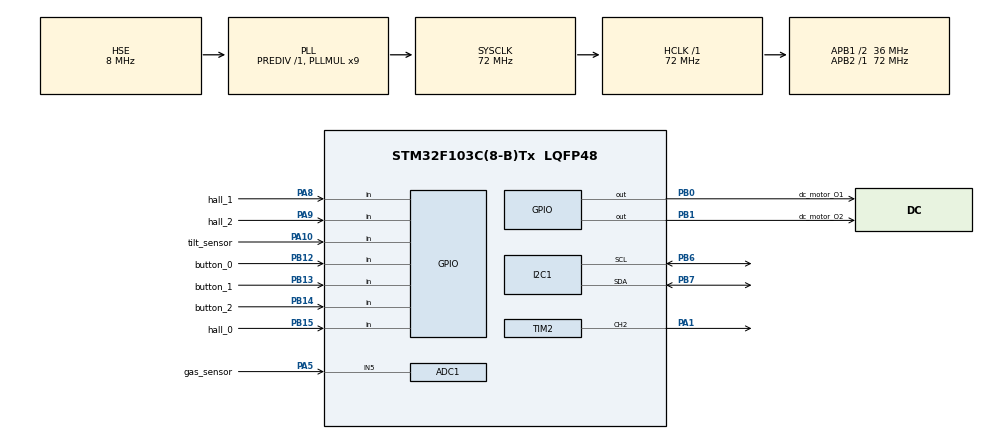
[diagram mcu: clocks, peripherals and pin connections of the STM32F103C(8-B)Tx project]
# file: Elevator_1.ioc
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ADC1.Channel-2\#ChannelRegularConversion=ADC_CHANNEL_5
ADC1.ContinuousConvMode=ENABLE
ADC1.NbrOfConversionFlag=1
ADC1.Rank-2\#ChannelRegularConversion=1
ADC1.SamplingTime-2\#ChannelRegularConversion=ADC_SAMPLETIME_1CYCLE_5
ADC1.master=1
Mcu.Family=STM32F1
Mcu.Name=STM32F103C(8-B)Tx
Mcu.Package=LQFP48
NVIC.PriorityGroup=NVIC_PRIORITYGROUP_4
PA1.Signal=S_TIM2_CH2
PA10.GPIO_Label=tilt_sensor
PA10.Signal=GPIO_Input
PA13.Mode=Serial_Wire
PA13.Signal=SYS_JTMS-SWDIO
PA14.Mode=Serial_Wire
PA14.Signal=SYS_JTCK-SWCLK
PA5.GPIO_Label=gas_sensor
PA5.Signal=ADCx_IN5
PA8.GPIO_Label=hall_1
PA8.Signal=GPIO_Input
PA9.GPIO_Label=hall_2
PA9.Signal=GPIO_Input
PB0.GPIO_Label=dc_motor_O1
PB0.Signal=GPIO_Output
PB1.GPIO_Label=dc_motor_O2
PB1.Signal=GPIO_Output
PB12.GPIO_Label=button_0
PB12.Signal=GPIO_Input
PB13.GPIO_Label=button_1
PB13.Signal=GPIO_Input
PB14.GPIO_Label=button_2
PB14.Signal=GPIO_Input
PB15.GPIO_Label=hall_0
PB15.Signal=GPIO_Input
PB6.Mode=I2C
PB6.Signal=I2C1_SCL
PB7.Mode=I2C
PB7.Signal=I2C1_SDA
PD0-OSC_IN.Mode=HSE-External-Oscillator
PD0-OSC_IN.Signal=RCC_OSC_IN
PD1-OSC_OUT.Mode=HSE-External-Oscillator
PD1-OSC_OUT.Signal=RCC_OSC_OUT
ProjectManager.HeapSize=0x200
ProjectManager.StackSize=0x400
ProjectManager.TargetToolchain=MDK-ARM V5.32
RCC.ADCPresc=RCC_ADCPCLK2_DIV6
RCC.AHBFreq_Value=72000000
RCC.APB1CLKDivider=RCC_HCLK_DIV2
RCC.APB1Freq_Value=36000000
RCC.APB1TimFreq_Value=72000000
RCC.APB2Freq_Value=72000000
RCC.APB2TimFreq_Value=72000000
RCC.HCLKFreq_Value=72000000
RCC.PLLMUL=RCC_PLL_MUL9
RCC.PLLSourceVirtual=RCC_PLLSOURCE_HSE
RCC.SYSCLKFreq_VALUE=72000000
RCC.SYSCLKSource=RCC_SYSCLKSOURCE_PLLCLK
RCC.USBFreq_Value=72000000
SH.ADCx_IN5.0=ADC1_IN5,IN5
SH.S_TIM2_CH2.0=TIM2_CH2,PWM Generation2 CH2
TIM2.Channel-PWM\ Generation2\ CH2=TIM_CHANNEL_2
TIM2.Period=625
TIM2.Prescaler=127
VP_TIM2_VS_ClockSourceINT.Mode=Internal
board=custom

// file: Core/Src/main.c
/* USER CODE BEGIN Header */
/**
  ******************************************************************************
  * @file           : main.c
  * @brief          : Main program body
  ******************************************************************************
  * @attention
  *
  * Copyright (c) 2023 STMicroelectronics.
  * All rights reserved.
  *
  * This software is licensed under terms that can be found in the LICENSE file
  * in the root directory of this software component.
  * If no LICENSE file comes with this software, it is provided AS-IS.
  *
  ******************************************************************************
  */
/* USER CODE END Header */

#include "main.h"

/* USER CODE BEGIN Includes */

#include "liquidcrystal_i2c.h"

/* USER CODE END Includes */

ADC_HandleTypeDef hadc1;

I2C_HandleTypeDef hi2c1;

TIM_HandleTypeDef htim2;

/* USER CODE BEGIN PV */

uint16_t button_0_St=0;
uint16_t button_1_St=0;
uint16_t button_2_St=0;

uint16_t hall_0_St = 0;
uint16_t hall_1_St = 0;
uint16_t hall_2_St = 0;

uint16_t adc_Val ;
uint16_t tilt;

uint8_t ctrlSt;

/* USER CODE END PV */

void SystemClock_Config(void);
static void MX_GPIO_Init(void);
static void MX_ADC1_Init(void);
static void MX_I2C1_Init(void);
static void MX_TIM2_Init(void);
/* USER CODE BEGIN PFP */
void upStairs(void){

		__HAL_TIM_SET_COMPARE(&htim2,TIM_CHANNEL_2,250);

	  HAL_GPIO_WritePin(GPIOB, GPIO_PIN_0, GPIO_PIN_SET);
		HAL_GPIO_WritePin(GPIOB, GPIO_PIN_1, GPIO_PIN_RESET);

}
void downStairs(void){
		__HAL_TIM_SET_COMPARE(&htim2,TIM_CHANNEL_2,250);

	  HAL_GPIO_WritePin(GPIOB, GPIO_PIN_0, GPIO_PIN_RESET);
		HAL_GPIO_WritePin(GPIOB, GPIO_PIN_1, GPIO_PIN_SET);

}
void stop(void){
		HAL_GPIO_WritePin(GPIOB, GPIO_PIN_0, GPIO_PIN_RESET);
		HAL_GPIO_WritePin(GPIOB, GPIO_PIN_1, GPIO_PIN_RESET);

}

/* USER CODE END PFP */

int main(void)
{

  /* MCU Configuration--------------------------------------------------------*/

  /* Reset of all peripherals, Initializes the Flash interface and the Systick. */

  HAL_Init();

  /* Configure the system clock */

  SystemClock_Config();

  /* Initialize all configured peripherals */
  MX_GPIO_Init();
  MX_ADC1_Init();
  MX_I2C1_Init();
  MX_TIM2_Init();
  /* USER CODE BEGIN 2 */
	HD44780_Init(2);
	HAL_Delay(2000);

	stop();
	HAL_Delay(500);

	HAL_TIM_PWM_Start(&htim2,TIM_CHANNEL_2);

  /* USER CODE END 2 */

  /* Infinite loop */
  while (1)
  {

    /* USER CODE BEGIN 3 */
		button_0_St = HAL_GPIO_ReadPin(button_0_GPIO_Port,button_0_Pin);
		button_1_St = HAL_GPIO_ReadPin(button_1_GPIO_Port,button_1_Pin);
		button_2_St = HAL_GPIO_ReadPin(button_2_GPIO_Port,button_2_Pin);

		hall_0_St = HAL_GPIO_ReadPin(hall_0_GPIO_Port,hall_0_Pin);
		hall_1_St = HAL_GPIO_ReadPin(hall_1_GPIO_Port,hall_1_Pin);
		hall_2_St = HAL_GPIO_ReadPin(hall_2_GPIO_Port,hall_2_Pin);

		//tilt = HAL_GPIO_ReadPin(tilt_sensor_GPIO_Port,tilt_sensor_Pin);

		HAL_ADC_Start(&hadc1);
    HAL_ADC_PollForConversion(&hadc1,HAL_MAX_DELAY);
    adc_Val = HAL_ADC_GetValue(&hadc1);
    HAL_ADC_Stop(&hadc1);
    HAL_Delay(500);

		if(adc_Val<1700){

		}
		else{

			HD44780_Clear();
			HD44780_SetCursor(7,0);
			HD44780_PrintStr("ACIL");
			HD44780_SetCursor(7,1);
			HD44780_PrintStr("DURUM");
			HAL_Delay(3000);

			HD44780_Clear();
			HD44780_SetCursor(1,0);
			HD44780_PrintStr("TAHLIYE KATINA");
			HD44780_SetCursor(3,1);
			HD44780_PrintStr("GIDILIYOR");
			HAL_Delay(2000);

			hall_0_St = HAL_GPIO_ReadPin(hall_0_GPIO_Port,hall_0_Pin);

				if(hall_0_St==1){

					HAL_Delay(2000);

					HD44780_Clear();
					HD44780_SetCursor(0,0);
					HD44780_PrintStr("0 -|");
					HAL_Delay(2000);
					stop();
					continue;

				}else{
					downStairs();
					continue;
				}

		}

		if(hall_0_St==1){

			stop();
			HD44780_Clear();
			HD44780_SetCursor(0,0);
			HD44780_PrintStr("0. kat");
			HAL_Delay(2000);

			if (button_0_St){
				//0

				HD44780_Clear();
				HD44780_SetCursor(0,0);
				HD44780_PrintStr("0. kattasiniz");
				HAL_Delay(2000);
				stop();

			}else if(button_1_St){
				//0 -> 1

				HD44780_Clear();
				HD44780_SetCursor(0,0);
				HD44780_PrintStr("0 -> 1");

				hall_1_St = HAL_GPIO_ReadPin(hall_1_GPIO_Port,hall_1_Pin);

				if(hall_1_St==1){

					HAL_Delay(2000);

					HD44780_Clear();
					HD44780_SetCursor(0,0);
					HD44780_PrintStr("1 -|");
					HAL_Delay(2000);
					continue;

				}else{
					upStairs();

					continue;
				}

			}else if(button_2_St){
				//0 -> 2

				HD44780_Clear();
				HD44780_SetCursor(0,0);
				HD44780_PrintStr("0 -> 2");
				HAL_Delay(2000);

				hall_2_St = HAL_GPIO_ReadPin(hall_2_GPIO_Port,hall_2_Pin);

				if(hall_2_St==1){

					HD44780_Clear();
					HD44780_SetCursor(0,0);
					HD44780_PrintStr("2 -|");
					HAL_Delay(2000);

				}else{
					upStairs();
					continue;
				}
			}else{
			continue;}

		}

		else if(hall_1_St==1){

			stop();
			HD44780_Clear();
			HD44780_SetCursor(0,0);
			HD44780_PrintStr("1. kat");
			HAL_Delay(2000);

			if (button_0_St){
				//1 -> 0

				HD44780_Clear();
				HD44780_SetCursor(0,0);
				HD44780_PrintStr("1 -> 0");
				HAL_Delay(2000);

				hall_0_St = HAL_GPIO_ReadPin(hall_0_GPIO_Port,hall_0_Pin);

				if(hall_0_St==1){

					HAL_Delay(2000);

					HD44780_Clear();
					HD44780_SetCursor(0,0);
					HD44780_PrintStr("0 -|");
					HAL_Delay(2000);
					continue;

				}else{
					downStairs();
					continue;
				}
			}else if(button_1_St){
				//1

				HAL_Delay(500);
				HD44780_Clear();
				HD44780_SetCursor(0,0);
				HD44780_PrintStr("1. kattasiniz");
				HAL_Delay(2000);

			}else if(button_2_St){
				//1 -> 2

				HD44780_Clear();
				HD44780_SetCursor(0,0);
				HD44780_PrintStr("1 -> 2");
				HAL_Delay(2000);

				hall_2_St = HAL_GPIO_ReadPin(hall_2_GPIO_Port,hall_2_Pin);

				if(hall_2_St==1){

					HAL_Delay(2000);

					HD44780_Clear();
					HD44780_SetCursor(0,0);
					HD44780_PrintStr("2 -|");
					HAL_Delay(2000);
					continue;

				}else{
					upStairs();
					continue;
				}
			}else{
			continue;}

		}
		else if(hall_2_St==1){

			stop();
			HD44780_Clear();
			HD44780_SetCursor(0,0);
			HD44780_PrintStr("2. kat");
			HAL_Delay(2000);

			if (button_0_St){
				//2 -> 0

				HD44780_Clear();
				HD44780_SetCursor(0,0);
				HD44780_PrintStr("2 -> 0");
				HAL_Delay(2000);

				hall_0_St = HAL_GPIO_ReadPin(hall_0_GPIO_Port,hall_0_Pin);

				if(hall_0_St==1){

					HAL_Delay(2000);

					HD44780_Clear();
					HD44780_SetCursor(0,0);
					HD44780_PrintStr("0 -|");
					HAL_Delay(2000);
					continue;

				}else{
					downStairs();
					continue;
				}
			}else if(button_1_St){
				//2 -> 1
				HD44780_Clear();
				HD44780_SetCursor(0,0);
				HD44780_PrintStr("2 -> 1");
				HAL_Delay(2000);

				hall_1_St = HAL_GPIO_ReadPin(hall_1_GPIO_Port,hall_1_Pin);

				if(hall_1_St==1){

					HAL_Delay(2000);

					HD44780_Clear();
					HD44780_SetCursor(0,0);
					HD44780_PrintStr("1 -|");
					HAL_Delay(2000);
					continue;

				}else{
					downStairs();
					continue;
				}
			}else if(button_2_St){
				//2

				HD44780_Clear();
				HD44780_SetCursor(0,0);
				HD44780_PrintStr("2. kattasiniz");
				HAL_Delay(2000);
			}else{
			continue;}

		}
		else{
		continue;
		}

  }
  /* USER CODE END 3 */
}

void SystemClock_Config(void)
{
  RCC_OscInitTypeDef RCC_OscInitStruct = {0};
  RCC_ClkInitTypeDef RCC_ClkInitStruct = {0};
  RCC_PeriphCLKInitTypeDef PeriphClkInit = {0};

  /** Initializes the RCC Oscillators according to the specified parameters
  * in the RCC_OscInitTypeDef structure.
  */
  RCC_OscInitStruct.OscillatorType = RCC_OSCILLATORTYPE_HSE;
  RCC_OscInitStruct.HSEState = RCC_HSE_ON;
  RCC_OscInitStruct.HSEPredivValue = RCC_HSE_PREDIV_DIV1;
  RCC_OscInitStruct.HSIState = RCC_HSI_ON;
  RCC_OscInitStruct.PLL.PLLState = RCC_PLL_ON;
  RCC_OscInitStruct.PLL.PLLSource = RCC_PLLSOURCE_HSE;
  RCC_OscInitStruct.PLL.PLLMUL = RCC_PLL_MUL9;
  if (HAL_RCC_OscConfig(&RCC_OscInitStruct) != HAL_OK)
  {
    Error_Handler();
  }

  /** Initializes the CPU, AHB and APB buses clocks
  */
  RCC_ClkInitStruct.ClockType = RCC_CLOCKTYPE_HCLK|RCC_CLOCKTYPE_SYSCLK
                              |RCC_CLOCKTYPE_PCLK1|RCC_CLOCKTYPE_PCLK2;
  RCC_ClkInitStruct.SYSCLKSource = RCC_SYSCLKSOURCE_PLLCLK;
  RCC_ClkInitStruct.AHBCLKDivider = RCC_SYSCLK_DIV1;
  RCC_ClkInitStruct.APB1CLKDivider = RCC_HCLK_DIV2;
  RCC_ClkInitStruct.APB2CLKDivider = RCC_HCLK_DIV1;

  if (HAL_RCC_ClockConfig(&RCC_ClkInitStruct, FLASH_LATENCY_2) != HAL_OK)
  {
    Error_Handler();
  }
  PeriphClkInit.PeriphClockSelection = RCC_PERIPHCLK_ADC;
  PeriphClkInit.AdcClockSelection = RCC_ADCPCLK2_DIV6;
  if (HAL_RCCEx_PeriphCLKConfig(&PeriphClkInit) != HAL_OK)
  {
    Error_Handler();
  }
}

static void MX_ADC1_Init(void)
{

  ADC_ChannelConfTypeDef sConfig = {0};

  /** Common config
  */
  hadc1.Instance = ADC1;
  hadc1.Init.ScanConvMode = ADC_SCAN_DISABLE;
  hadc1.Init.ContinuousConvMode = ENABLE;
  hadc1.Init.DiscontinuousConvMode = DISABLE;
  hadc1.Init.ExternalTrigConv = ADC_SOFTWARE_START;
  hadc1.Init.DataAlign = ADC_DATAALIGN_RIGHT;
  hadc1.Init.NbrOfConversion = 1;
  if (HAL_ADC_Init(&hadc1) != HAL_OK)
  {
    Error_Handler();
  }

  /** Configure Regular Channel
  */
  sConfig.Channel = ADC_CHANNEL_5;
  sConfig.Rank = ADC_REGULAR_RANK_1;
  sConfig.SamplingTime = ADC_SAMPLETIME_1CYCLE_5;
  if (HAL_ADC_ConfigChannel(&hadc1, &sConfig) != HAL_OK)
  {
    Error_Handler();
  }

}

static void MX_I2C1_Init(void)
{

  hi2c1.Instance = I2C1;
  hi2c1.Init.ClockSpeed = 100000;
  hi2c1.Init.DutyCycle = I2C_DUTYCYCLE_2;
  hi2c1.Init.OwnAddress1 = 0;
  hi2c1.Init.AddressingMode = I2C_ADDRESSINGMODE_7BIT;
  hi2c1.Init.DualAddressMode = I2C_DUALADDRESS_DISABLE;
  hi2c1.Init.OwnAddress2 = 0;
  hi2c1.Init.GeneralCallMode = I2C_GENERALCALL_DISABLE;
  hi2c1.Init.NoStretchMode = I2C_NOSTRETCH_DISABLE;
  if (HAL_I2C_Init(&hi2c1) != HAL_OK)
  {
    Error_Handler();
  }

}

static void MX_TIM2_Init(void)
{

  TIM_ClockConfigTypeDef sClockSourceConfig = {0};
  TIM_MasterConfigTypeDef sMasterConfig = {0};
  TIM_OC_InitTypeDef sConfigOC = {0};

  htim2.Instance = TIM2;
  htim2.Init.Prescaler = 127;
  htim2.Init.CounterMode = TIM_COUNTERMODE_UP;
  htim2.Init.Period = 625;
  htim2.Init.ClockDivision = TIM_CLOCKDIVISION_DIV1;
  htim2.Init.AutoReloadPreload = TIM_AUTORELOAD_PRELOAD_DISABLE;
  if (HAL_TIM_Base_Init(&htim2) != HAL_OK)
  {
    Error_Handler();
  }
  sClockSourceConfig.ClockSource = TIM_CLOCKSOURCE_INTERNAL;
  if (HAL_TIM_ConfigClockSource(&htim2, &sClockSourceConfig) != HAL_OK)
  {
    Error_Handler();
  }
  if (HAL_TIM_PWM_Init(&htim2) != HAL_OK)
  {
    Error_Handler();
  }
  sMasterConfig.MasterOutputTrigger = TIM_TRGO_RESET;
  sMasterConfig.MasterSlaveMode = TIM_MASTERSLAVEMODE_DISABLE;
  if (HAL_TIMEx_MasterConfigSynchronization(&htim2, &sMasterConfig) != HAL_OK)
  {
    Error_Handler();
  }
  sConfigOC.OCMode = TIM_OCMODE_PWM1;
  sConfigOC.Pulse = 0;
  sConfigOC.OCPolarity = TIM_OCPOLARITY_HIGH;
  sConfigOC.OCFastMode = TIM_OCFAST_DISABLE;
  if (HAL_TIM_PWM_ConfigChannel(&htim2, &sConfigOC, TIM_CHANNEL_2) != HAL_OK)
  {
    Error_Handler();
  }
  HAL_TIM_MspPostInit(&htim2);

}

static void MX_GPIO_Init(void)
{
  GPIO_InitTypeDef GPIO_InitStruct = {0};

  /* GPIO Ports Clock Enable */
  __HAL_RCC_GPIOD_CLK_ENABLE();
  __HAL_RCC_GPIOA_CLK_ENABLE();
  __HAL_RCC_GPIOB_CLK_ENABLE();

  /*Configure GPIO pin Output Level */
  HAL_GPIO_WritePin(GPIOB, dc_motor_O1_Pin|dc_motor_O2_Pin, GPIO_PIN_RESET);

  /*Configure GPIO pins : dc_motor_O1_Pin dc_motor_O2_Pin */
  GPIO_InitStruct.Pin = dc_motor_O1_Pin|dc_motor_O2_Pin;
  GPIO_InitStruct.Mode = GPIO_MODE_OUTPUT_PP;
  GPIO_InitStruct.Pull = GPIO_NOPULL;
  GPIO_InitStruct.Speed = GPIO_SPEED_FREQ_LOW;
  HAL_GPIO_Init(GPIOB, &GPIO_InitStruct);

  /*Configure GPIO pins : button_0_Pin button_1_Pin button_2_Pin hall_0_Pin */
  GPIO_InitStruct.Pin = button_0_Pin|button_1_Pin|button_2_Pin|hall_0_Pin;
  GPIO_InitStruct.Mode = GPIO_MODE_INPUT;
  GPIO_InitStruct.Pull = GPIO_NOPULL;
  HAL_GPIO_Init(GPIOB, &GPIO_InitStruct);

  /*Configure GPIO pins : hall_1_Pin hall_2_Pin tilt_sensor_Pin */
  GPIO_InitStruct.Pin = hall_1_Pin|hall_2_Pin|tilt_sensor_Pin;
  GPIO_InitStruct.Mode = GPIO_MODE_INPUT;
  GPIO_InitStruct.Pull = GPIO_NOPULL;
  HAL_GPIO_Init(GPIOA, &GPIO_InitStruct);

}

void Error_Handler(void)
{
  __disable_irq();
  while (1)
  {
  }
}
